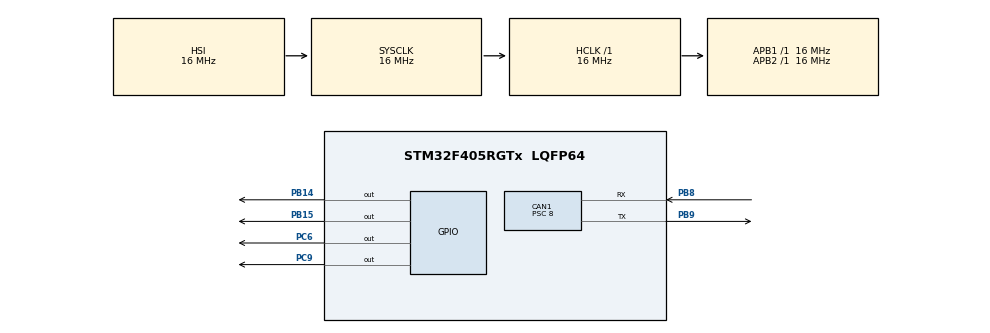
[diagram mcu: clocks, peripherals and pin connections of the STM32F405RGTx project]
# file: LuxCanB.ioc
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CAN1.BS1=CAN_BS1_13TQ
CAN1.BS2=CAN_BS2_2TQ
CAN1.CalculateBaudRate=125000
CAN1.CalculateTimeBit=8000
CAN1.CalculateTimeQuantum=500.0
CAN1.NART=ENABLE
CAN1.Prescaler=8
Mcu.Family=STM32F4
Mcu.Name=STM32F405RGTx
Mcu.Package=LQFP64
NVIC.CAN1_RX0_IRQn=true\:0\:0\:false\:false\:true\:true\:true\:true
NVIC.PriorityGroup=NVIC_PRIORITYGROUP_4
PA13.Mode=Serial_Wire
PA13.Signal=SYS_JTMS-SWDIO
PA14.Mode=Serial_Wire
PA14.Signal=SYS_JTCK-SWCLK
PB14.Signal=GPIO_Output
PB15.Signal=GPIO_Output
PB8.Mode=CAN_Activate
PB8.Signal=CAN1_RX
PB9.Mode=CAN_Activate
PB9.Signal=CAN1_TX
PC14-OSC32_IN.Mode=LSE-External-Oscillator
PC14-OSC32_IN.Signal=RCC_OSC32_IN
PC15-OSC32_OUT.Mode=LSE-External-Oscillator
PC15-OSC32_OUT.Signal=RCC_OSC32_OUT
PC6.Signal=GPIO_Output
PC9.Signal=GPIO_Output
PH0-OSC_IN.Mode=HSE-External-Oscillator
PH0-OSC_IN.Signal=RCC_OSC_IN
PH1-OSC_OUT.Mode=HSE-External-Oscillator
PH1-OSC_OUT.Signal=RCC_OSC_OUT
ProjectManager.HeapSize=0x200
ProjectManager.StackSize=0x400
ProjectManager.TargetToolchain=STM32CubeIDE
RCC.AHBFreq_Value=16000000
RCC.APB1Freq_Value=16000000
RCC.APB2Freq_Value=16000000
RCC.CortexFreq_Value=16000000
RCC.HSE_VALUE=25000000
RCC.HSI_VALUE=16000000
RCC.SYSCLKFreq_VALUE=16000000
RCC.VCOOutputFreq_Value=192000000
board=custom

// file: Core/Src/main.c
/* USER CODE BEGIN Header */
/**
  ******************************************************************************
  * @file           : main.c
  * @brief          : Main program body
  ******************************************************************************
  * @attention
  *
  * Copyright (c) 2026 STMicroelectronics.
  * All rights reserved.
  *
  * This software is licensed under terms that can be found in the LICENSE file
  * in the root directory of this software component.
  * If no LICENSE file comes with this software, it is provided AS-IS.
  *
  ******************************************************************************
  */
/* USER CODE END Header */
#include "main.h"
#include<stdio.h>

CAN_HandleTypeDef hcan1;

void SystemClock_Config(void);
static void MX_GPIO_Init(void);
static void MX_CAN1_Init(void);
/* USER CODE BEGIN PFP */
 void can_sub(void);
 void CAN_Filter_Config(void);
/* USER CODE END PFP */

/* USER CODE BEGIN 0 */
CAN_TxHeaderTypeDef TxHeader;
CAN_RxHeaderTypeDef RxHeader;

uint8_t tx[8];   //data
uint8_t rx[8];
uint32_t txmailbox;
volatile uint8_t warning=0; //volatile because modified inside interrupt.
volatile uint8_t speed=0;
volatile uint8_t prev_warning = 0;
volatile uint8_t flag=0;
/* USER CODE END 0 */

int main(void)
{

  /* MCU Configuration--------------------------------------------------------*/

  /* Reset of all peripherals, Initializes the Flash interface and the Systick. */
  HAL_Init();

  /* Configure the system clock */
  SystemClock_Config();

  /* Initialize all configured peripherals */
  MX_GPIO_Init();
  MX_CAN1_Init();
  /* USER CODE BEGIN 2 */
  CAN_Filter_Config();
   HAL_CAN_Start(&hcan1);
   HAL_CAN_ActivateNotification(&hcan1, CAN_IT_RX_FIFO0_MSG_PENDING);
   can_sub();

  /* USER CODE END 2 */

  /* Infinite loop */
  while (1)
  {

    /* USER CODE BEGIN 3 */
	  if(warning==2)
	  {
		  HAL_GPIO_WritePin(GPIOC, GPIO_PIN_6, RESET); // LED ON
		  HAL_GPIO_WritePin(GPIOC, GPIO_PIN_9, SET); // Buzzer ON
		  HAL_Delay(500);
		  HAL_GPIO_WritePin(GPIOC, GPIO_PIN_9, RESET); // Buzzer off
		  HAL_Delay(500);
	  }
	  else if((warning==1)&&(flag==1))
	  {
		  HAL_GPIO_WritePin(GPIOC, GPIO_PIN_6, SET); // LED Off
		  HAL_GPIO_WritePin(GPIOC, GPIO_PIN_9, SET); // Buzzer ON
		  HAL_Delay(500);
		  HAL_GPIO_WritePin(GPIOC, GPIO_PIN_9, RESET); // Buzzer off
		  flag=0;

	  }
	  else
	  {
		  HAL_GPIO_WritePin(GPIOC, GPIO_PIN_6, SET); // warning LED Off
		  HAL_GPIO_WritePin(GPIOC, GPIO_PIN_9, RESET); // Buzzer Off
	  }

  }
  /* USER CODE END 3 */
}

void SystemClock_Config(void)
{
  RCC_OscInitTypeDef RCC_OscInitStruct = {0};
  RCC_ClkInitTypeDef RCC_ClkInitStruct = {0};

  /** Configure the main internal regulator output voltage
  */
  __HAL_RCC_PWR_CLK_ENABLE();
  __HAL_PWR_VOLTAGESCALING_CONFIG(PWR_REGULATOR_VOLTAGE_SCALE1);

  /** Initializes the RCC Oscillators according to the specified parameters
  * in the RCC_OscInitTypeDef structure.
  */
  RCC_OscInitStruct.OscillatorType = RCC_OSCILLATORTYPE_HSI;
  RCC_OscInitStruct.HSIState = RCC_HSI_ON;
  RCC_OscInitStruct.HSICalibrationValue = RCC_HSICALIBRATION_DEFAULT;
  RCC_OscInitStruct.PLL.PLLState = RCC_PLL_NONE;
  if (HAL_RCC_OscConfig(&RCC_OscInitStruct) != HAL_OK)
  {
    Error_Handler();
  }

  /** Initializes the CPU, AHB and APB buses clocks
  */
  RCC_ClkInitStruct.ClockType = RCC_CLOCKTYPE_HCLK|RCC_CLOCKTYPE_SYSCLK
                              |RCC_CLOCKTYPE_PCLK1|RCC_CLOCKTYPE_PCLK2;
  RCC_ClkInitStruct.SYSCLKSource = RCC_SYSCLKSOURCE_HSI;
  RCC_ClkInitStruct.AHBCLKDivider = RCC_SYSCLK_DIV1;
  RCC_ClkInitStruct.APB1CLKDivider = RCC_HCLK_DIV1;
  RCC_ClkInitStruct.APB2CLKDivider = RCC_HCLK_DIV1;

  if (HAL_RCC_ClockConfig(&RCC_ClkInitStruct, FLASH_LATENCY_0) != HAL_OK)
  {
    Error_Handler();
  }
}

static void MX_CAN1_Init(void)
{

  hcan1.Instance = CAN1;
  hcan1.Init.Prescaler = 8;
  hcan1.Init.Mode = CAN_MODE_NORMAL;
  hcan1.Init.SyncJumpWidth = CAN_SJW_1TQ;
  hcan1.Init.TimeSeg1 = CAN_BS1_13TQ;
  hcan1.Init.TimeSeg2 = CAN_BS2_2TQ;
  hcan1.Init.TimeTriggeredMode = DISABLE;
  hcan1.Init.AutoBusOff = DISABLE;
  hcan1.Init.AutoWakeUp = DISABLE;
  hcan1.Init.AutoRetransmission = ENABLE;
  hcan1.Init.ReceiveFifoLocked = DISABLE;
  hcan1.Init.TransmitFifoPriority = DISABLE;
  if (HAL_CAN_Init(&hcan1) != HAL_OK)
  {
    Error_Handler();
  }

}

static void MX_GPIO_Init(void)
{
  GPIO_InitTypeDef GPIO_InitStruct = {0};

  /* GPIO Ports Clock Enable */
  __HAL_RCC_GPIOC_CLK_ENABLE();
  __HAL_RCC_GPIOH_CLK_ENABLE();
  __HAL_RCC_GPIOB_CLK_ENABLE();
  __HAL_RCC_GPIOA_CLK_ENABLE();

  /*Configure GPIO pin Output Level */
  HAL_GPIO_WritePin(GPIOB, GPIO_PIN_14|GPIO_PIN_15, GPIO_PIN_RESET);

  /*Configure GPIO pin Output Level */
  HAL_GPIO_WritePin(GPIOC, GPIO_PIN_6|GPIO_PIN_9, GPIO_PIN_RESET);

  /*Configure GPIO pins : PB14 PB15 */
  GPIO_InitStruct.Pin = GPIO_PIN_14|GPIO_PIN_15;
  GPIO_InitStruct.Mode = GPIO_MODE_OUTPUT_PP;
  GPIO_InitStruct.Pull = GPIO_NOPULL;
  GPIO_InitStruct.Speed = GPIO_SPEED_FREQ_LOW;
  HAL_GPIO_Init(GPIOB, &GPIO_InitStruct);

  /*Configure GPIO pins : PC6 PC9 */
  GPIO_InitStruct.Pin = GPIO_PIN_6|GPIO_PIN_9;
  GPIO_InitStruct.Mode = GPIO_MODE_OUTPUT_PP;
  GPIO_InitStruct.Pull = GPIO_NOPULL;
  GPIO_InitStruct.Speed = GPIO_SPEED_FREQ_LOW;
  HAL_GPIO_Init(GPIOC, &GPIO_InitStruct);

}

/* USER CODE BEGIN 4 */
void can_sub(void)    //used only if we are transmitting else filter alone is enough
{
	TxHeader.StdId=0x234;
	TxHeader.ExtId=0;
	TxHeader.IDE=CAN_ID_STD;
	TxHeader.RTR=CAN_RTR_DATA;
	TxHeader.DLC=3;
	TxHeader.TransmitGlobalTime=DISABLE;
}

void HAL_CAN_RxFifo0MsgPendingCallback(CAN_HandleTypeDef *hcan)
{
    HAL_CAN_GetRxMessage(&hcan1, CAN_RX_FIFO0, &RxHeader, rx);

    if (RxHeader.StdId == 0x123)   // Message from Board A
    {
    	HAL_GPIO_WritePin(GPIOB, GPIO_PIN_15, rx[0]? RESET : SET); // Low ON/off
    	HAL_GPIO_WritePin(GPIOB, GPIO_PIN_14, rx[1]? RESET : SET); // High ON/off
    	speed=rx[2];
    	if(rx[2]>=120)
    	{
    		warning=2;
    	}
    	else if(rx[2]>=80)
    	{
    		warning=1;
    		if(prev_warning!=1){
    		flag=1;
    		}
    	}
    	else{
    		warning=0;
    	}

    	prev_warning=warning;
    	}
}
void CAN_Filter_Config(void)
{
    CAN_FilterTypeDef filter;

    filter.FilterBank = 0;
    filter.FilterMode = CAN_FILTERMODE_IDMASK;
    filter.FilterScale = CAN_FILTERSCALE_32BIT;

    filter.FilterIdHigh = (0x123 << 5);//only accept from board A,since 16 bit but std ID uses 11 bit
    filter.FilterIdLow  = 0x0000; //so,we use[15:5] so we are left shifting 5
    filter.FilterMaskIdHigh = (0x7FF << 5); // mask 1111111111111111
    filter.FilterMaskIdLow  = 0x0000;

    filter.FilterFIFOAssignment = CAN_RX_FIFO0;
    filter.FilterActivation = ENABLE;
    filter.SlaveStartFilterBank = 14;

    HAL_CAN_ConfigFilter(&hcan1, &filter);
}
/* USER CODE END 4 */

void Error_Handler(void)
{
  __disable_irq();
  while (1)
  {
  }
}
